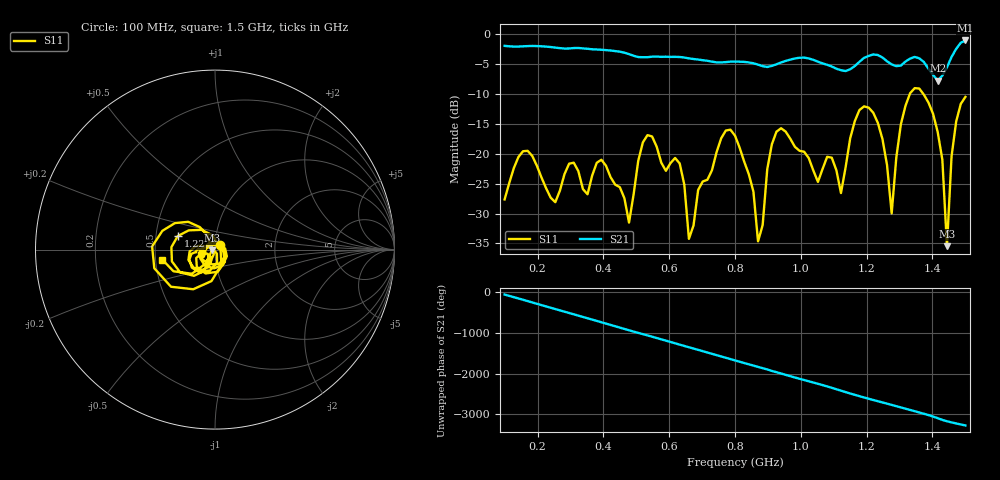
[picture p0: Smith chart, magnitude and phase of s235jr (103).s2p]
! NanoVNA-App
! Date: 2025-09-26 09:45:35
! Start: 100MHz Stop: 1,5GHz Points: 101
! S-Parameter data: F S11 S21 S12 S22
# Hz S RI R 50
!  Frequency  S11_Real  S11_Imag  S21_Real  S21_Imag  S12_Real  S12_Imag  S22_Real  S22_Imag
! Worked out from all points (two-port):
!   101 points, 100 MHz to 1.5 GHz, reference 50 ohm
!   highest |S21| = -1.05 dB at 1.5 GHz (marker M1); lowest = -7.8 dB at 1.416 GHz (marker M2)
!   |S21| within 3 dB of the highest: start of sweep to 660.6 MHz; 1.19 GHz to 1.251 GHz (60.96 MHz wide, 4.99 % of centre)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
!   lowest |S11| = -35.5 dB at 1.444 GHz (marker M3), VSWR 1.03, Z = 48.4 - j0.292 ohm
!   |S11| at or under -10 dB: start of sweep to 1.331 GHz; 1.372 GHz to end of sweep
!   S12 and S22 are empty: the file has one direction only
!   S11 on the Smith chart (normalised r, x): 100 MHz: 1.06, +0.06; 1.22 GHz: 0.65, +0.10; 1.5 GHz: 0.54, -0.07
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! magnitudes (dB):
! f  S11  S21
! 100 MHz  -27.6  -2.0
! 156 MHz  -19.6  -2.0
! 338 MHz  -25.9  -2.4
! 394 MHz  -21.0  -2.6
! 478 MHz  -31.5  -3.3
! 520 MHz  -18.1  -3.9
! 576 MHz  -21.5  -3.8
! 632 MHz  -21.6  -3.8
! 660 MHz  -34.2  -4.0
! 800 MHz  -17.0  -4.6
! 870 MHz  -34.6  -5.1
! 926 MHz  -16.3  -5.0
! 1.038 GHz  -22.8  -4.3
! 1.122 GHz  -26.6  -6.0
! 1.164 GHz  -14.5  -5.3
! 1.22 GHz  -13.1  -3.4
! 1.276 GHz  -30.0  -5.1
! 1.332 GHz  -9.9  -4.1
! 1.416 GHz  -16.4  -7.8
! 1.444 GHz  -35.5  -5.5
! 1.458 GHz  -20.4  -3.8
! 1.5 GHz  -10.5  -1.0
